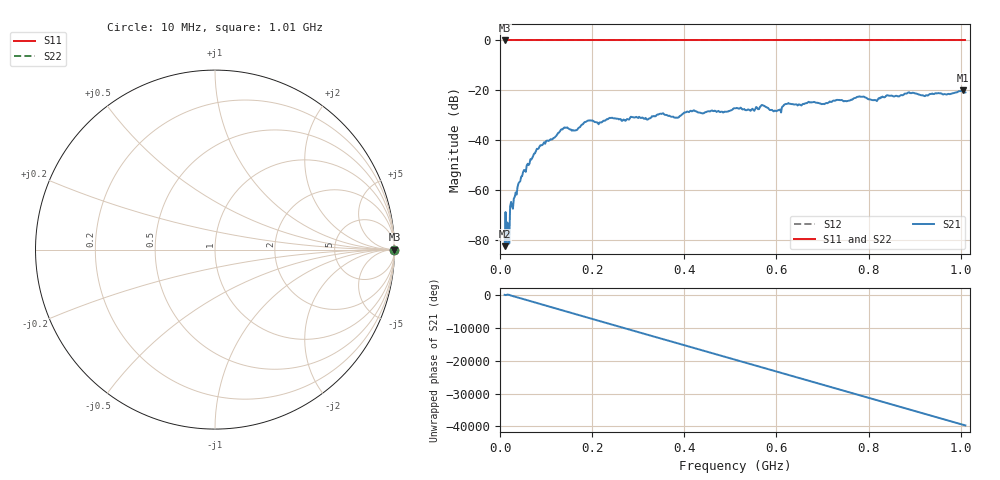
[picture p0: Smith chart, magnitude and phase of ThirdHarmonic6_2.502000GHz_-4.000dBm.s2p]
! 8/17/2025 4:48:14 AM
! C:\ANRITSUVNA\TEMP\TEMP.S2P
! CHANNEL.1
! TR.MEASUREMENT
! RAW.DATA
! RF.CORRECTION.OFF
! AVERAGING.OFF
! IF.BANDWIDTH: 5KHZ
! SWEEPTYPE:  FREQ.SWEEP(Linear)
! Reference Plane Port Info
! PORT:  PORT1  PORT2
! DISTANCE:  0  m  0  m
! TIME:  0  s  0  s
! PHASE.OFFSET:  0  deg.  0  deg.
! LOSS:  0  dB  0  dB
! REF.LOSS:  0  dB  0  dB
! REF.FREQ:  0  Hz  0  Hz
! Power Info
! POWER:  -20  dBm  -20  dBm
! EFF.POWER:  -20  dBm  -20  dBm
! SOURCE.ATTEN:  0  dB  0  dB
! TEST.ATTEN:  0  dB  0  dB
# GHZ S RI R 50.0
! FREQ.GHZ  S11RE  S11IM  S21RE  S21IM  S12RE  S12IM  S22RE  S22IM
!; PortSelection: Port_12
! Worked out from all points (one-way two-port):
!   501 points, 10 MHz to 1.01 GHz, reference 50 ohm
!   highest |S21| = -20.06 dB at 1.004 GHz (marker M1); lowest = -82.7 dB at 10 MHz (marker M2)
!   lowest |S11| = 0.0 dB at 10 MHz (marker M3)
!   |S11| at or under -10 dB: nowhere
!   |S22| runs from 0.0 to 0.0 dB; largest |S21 - S12| = 1.1
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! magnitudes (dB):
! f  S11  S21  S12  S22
! 10 MHz  0.0  -82.7  0.0  0.0
! 18 MHz  0.0  -74.7  0.0  0.0
! 26 MHz  0.0  -66.6  0.0  0.0
! 42 MHz  0.0  -56.9  0.0  0.0
! 78 MHz  0.0  -44.5  0.0  0.0
! 136 MHz  0.0  -35.7  0.0  0.0
! 164 MHz  0.0  -36.1  0.0  0.0
! 178 MHz  0.0  -33.8  0.0  0.0
! 344 MHz  0.0  -29.7  0.0  0.0
! 384 MHz  0.0  -31.1  0.0  0.0
! 416 MHz  0.0  -28.5  0.0  0.0
! 510 MHz  0.0  -27.2  0.0  0.0
! 548 MHz  0.0  -27.4  0.0  0.0
! 570 MHz  0.0  -26.0  0.0  0.0
! 598 MHz  0.0  -28.2  0.0  0.0
! 622 MHz  0.0  -25.5  0.0  0.0
! 678 MHz  0.0  -24.8  0.0  0.0
! 780 MHz  0.0  -22.5  0.0  0.0
! 814 MHz  0.0  -23.9  0.0  0.0
! 844 MHz  0.0  -22.2  0.0  0.0
! 1.004 GHz  0.0  -20.1  0.0  0.0
! 1.01 GHz  0.0  -20.9  0.0  0.0
